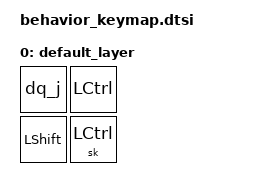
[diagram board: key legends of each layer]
/* Proof: type Dvorak, but Ctrl/Alt/GUI sends the Qwerty-position key (mod kept).
 * dq_j sits at the PHYSICAL Qwerty-C position: types Dvorak J normally,
 * sends Qwerty C when a Ctrl/Alt/GUI modifier is held -> classic Dvorak-Qwerty.
 */
/ {
    behaviors {
        dq_j: dvorak_qwerty_j {
            compatible = "zmk,behavior-mod-morph";
            #binding-cells = <0>;
            bindings = <&kp J>, <&kp C>;
            mods = <(MOD_LCTL|MOD_RCTL|MOD_LALT|MOD_RALT|MOD_LGUI|MOD_RGUI)>;
            keep-mods = <(MOD_LCTL|MOD_RCTL|MOD_LALT|MOD_RALT|MOD_LGUI|MOD_RGUI)>;
        };
    };

    keymap {
        compatible = "zmk,keymap";
        default_layer {
            bindings = <
                &dq_j      &kp LCTRL
                &kp LSHFT  &sk LCTRL
            >;
        };
    };
};
